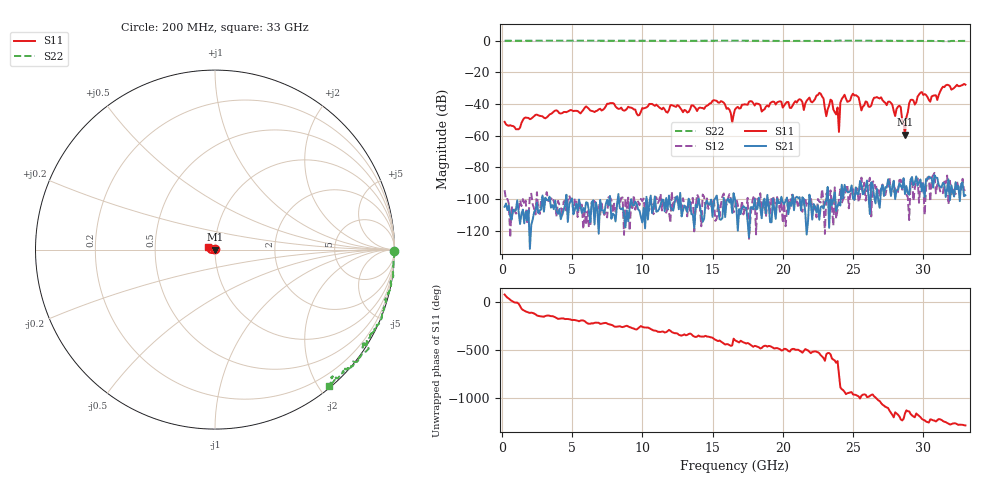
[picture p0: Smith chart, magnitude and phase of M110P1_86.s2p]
# GHZ S RI R 50
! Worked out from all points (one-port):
!   329 points, 200 MHz to 33 GHz, reference 50 ohm
!   lowest |S11| = -59.5 dB at 28.7 GHz (marker M1), VSWR 1.00, Z = 50 - j0.103 ohm
!   |S11| at or under -10 dB: start of sweep to end of sweep
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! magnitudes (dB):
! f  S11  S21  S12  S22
! 200 MHz  -51.3  -105.0  -94.4  0.0
! 5.7 GHz  -44.9  -108.8  -103.6  0.0
! 11.2 GHz  -42.1  -106.3  -101.1  0.0
! 15.6 GHz  -38.2  -113.1  -103.4  0.0
! 16.4 GHz  -51.7  -108.9  -104.3  0.0
! 16.6 GHz  -43.4  -100.2  -104.9  0.0
! 22.1 GHz  -38.9  -113.0  -105.8  0.0
! 22.7 GHz  -33.5  -105.1  -102.2  -0.2
! 23.1 GHz  -47.7  -100.8  -96.6  0.0
! 23.5 GHz  -38.0  -103.8  -106.1  -0.2
! 23.9 GHz  -42.2  -104.7  -106.9  0.0
! 24 GHz  -57.6  -102.6  -99.8  0.2
! 24.1 GHz  -39.2  -104.1  -93.9  0.1
! 24.4 GHz  -34.2  -91.1  -98.7  0.0
! 25.4 GHz  -35.8  -96.8  -102.1  0.0
! 25.6 GHz  -44.0  -91.2  -86.5  0.0
! 27.6 GHz  -38.5  -90.6  -86.5  0.0
! 28 GHz  -47.6  -100.1  -93.2  0.0
! 28.4 GHz  -42.1  -91.9  -87.9  -0.1
! 28.7 GHz  -59.5  -96.9  -95.5  -0.2
! 29.1 GHz  -37.4  -87.7  -88.9  -0.1
! 33 GHz  -27.8  -97.7  -94.3  -0.1
